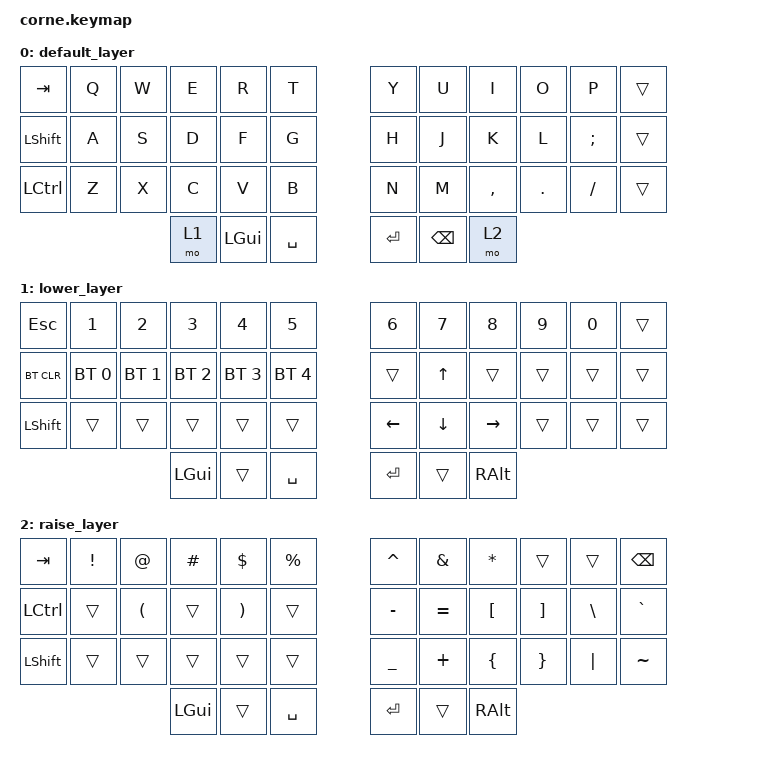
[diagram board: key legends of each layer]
/*
 * Copyright (c) 2020 The ZMK Contributors
 *
 * SPDX-License-Identifier: MIT
 */

#include <behaviors.dtsi>
#include <dt-bindings/zmk/keys.h>
#include <dt-bindings/zmk/bt.h>

/ {
        keymap {
                compatible = "zmk,keymap";

                default_layer {
// -----------------------------------------------------------------------------------------
// |  TAB |  Q  |  W  |  E  |  R  |  T  |   |  Y  |  U   |  I  |  O  |  P  | trans |
// | SHFT |  A  |  S  |  D  |  F  |  G  |   |  H  |  J   |  K  |  L  |  ;  | trans |
// | CTRL |  Z  |  X  |  C  |  V  |  B  |   |  N  |  M   |  ,  |  .  |  /  | trans |
//                    | LWR | GUI | SPC |   | ENT | BSPC  | RSE |
                        bindings = <
   &kp TAB   &kp Q &kp W &kp E &kp R &kp T   &kp Y &kp U  &kp I     &kp O   &kp P    &trans
   &kp LSHFT &kp A &kp S &kp D &kp F &kp G   &kp H &kp J  &kp K     &kp L   &kp SEMI &trans
   &kp LCTRL &kp Z &kp X &kp C &kp V &kp B   &kp N &kp M  &kp COMMA &kp DOT &kp FSLH &trans
                  &mo 1 &kp LGUI &kp SPACE   &kp RET &kp BSPC &mo 2
                        >;
                };
                lower_layer {
// -----------------------------------------------------------------------------------------
// |  ESC |  1  |  2  |  3  |  4  |  5  |   |  6  |  7  |  8  |  9  |  0  | trans |
// | BTCLR| BT1 | BT2 | BT3 | BT4 | BT5 |   |  |     UP |   |  |     |      |
// | SHFT |     |     |     |     |     |   | LFT |  DWN|  RGT|     |     |      |
//                    | GUI |     | SPC |   | ENT |     | ALT |
                        bindings = <
   &kp ESC    &kp N1       &kp N2       &kp N3       &kp N4       &kp N5         &kp N6   &kp N7   &kp N8 &kp N9    &kp N0 &trans
   &bt BT_CLR &bt BT_SEL 0 &bt BT_SEL 1 &bt BT_SEL 2 &bt BT_SEL 3 &bt BT_SEL 4   &trans &kp UP &trans &trans  &trans &trans
   &kp LSHFT  &trans       &trans       &trans       &trans       &trans         &kp LEFT   &kp DOWN   &kp RIGHT &trans    &trans &trans
                                    &kp LGUI     &trans       &kp SPACE      &kp RET  &trans   &kp RALT
                        >;
                };

                raise_layer {
// -----------------------------------------------------------------------------------------
// |  TAB |  !  |  @  |  #  |  $  |  %  |   |  ^  |  &  |  *  |  trans  |  trans  | BSPC |
// | CTRL |     |   (  | )    |     |     |   |  -  |  =  |  [  |  ]  |  \  |  `   |
// | SHFT |     |     |     |     |     |   |  _  |  +  |  {  |  }  | "|" |  ~   |
//                    | GUI |     | SPC |   | ENT |     | ALT |
                        bindings = <
   &kp  TAB  &kp EXCL &kp AT &kp HASH &kp DLLR &kp PRCNT   &kp CARET &kp AMPS  &kp ASTRK &trans &trans &kp BSPC
   &kp LCTRL &trans   &kp LPAR &trans   &kp RPAR   &trans      &kp MINUS &kp EQUAL &kp LBKT  &kp RBKT &kp BSLH &kp GRAVE
   &kp LSHFT &trans   &trans &trans   &trans   &trans      &kp UNDER &kp PLUS  &kp LBRC  &kp RBRC &kp PIPE &kp TILDE 
                             &kp LGUI &trans   &kp SPACE   &kp RET   &trans    &kp RALT
                        >;
                };
        };
};

